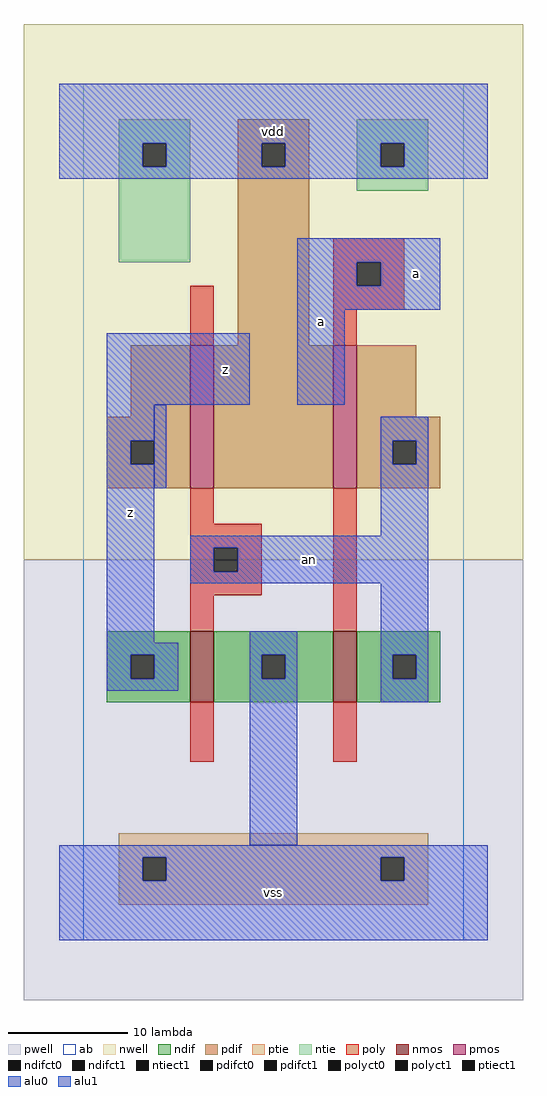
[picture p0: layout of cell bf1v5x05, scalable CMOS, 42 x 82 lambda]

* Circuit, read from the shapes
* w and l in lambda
.subckt bf1v5x05 a an vdd vss z
M1 vss an z vss nfet w=6 l=2
M2 an a vss vss nfet w=6 l=2
M3 vdd an z vdd pfet w=12 l=2
M4 an a vdd vdd pfet w=12 l=2
.ends

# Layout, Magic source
magic
tech scmos
<< ab >>
rect 0 0 32 72
<< nwell >>
rect -5 32 37 77
<< pwell >>
rect -5 -5 37 32
<< poly >>
rect 9 50 11 55
rect 21 57 27 59
rect 21 55 23 57
rect 25 55 27 57
rect 21 53 27 55
rect 21 50 23 53
rect 9 35 11 38
rect 9 33 15 35
rect 9 31 11 33
rect 13 31 15 33
rect 9 29 15 31
rect 9 26 11 29
rect 21 26 23 38
rect 9 15 11 20
rect 21 15 23 20
<< ndif >>
rect 2 24 9 26
rect 2 22 4 24
rect 6 22 9 24
rect 2 20 9 22
rect 11 24 21 26
rect 11 22 15 24
rect 17 22 21 24
rect 11 20 21 22
rect 23 24 30 26
rect 23 22 26 24
rect 28 22 30 24
rect 23 20 30 22
<< pdif >>
rect 13 67 19 69
rect 13 65 15 67
rect 17 65 19 67
rect 13 50 19 65
rect 4 44 9 50
rect 2 42 9 44
rect 2 40 4 42
rect 6 40 9 42
rect 2 38 9 40
rect 11 38 21 50
rect 23 44 28 50
rect 23 42 30 44
rect 23 40 26 42
rect 28 40 30 42
rect 23 38 30 40
<< alu1 >>
rect -2 67 34 72
rect -2 65 5 67
rect 7 65 15 67
rect 17 65 25 67
rect 27 65 34 67
rect -2 64 34 65
rect 18 57 30 59
rect 18 55 23 57
rect 25 55 30 57
rect 18 53 30 55
rect 2 45 14 51
rect 18 45 22 53
rect 2 42 6 45
rect 2 40 4 42
rect 2 25 6 40
rect 2 24 8 25
rect 2 22 4 24
rect 6 22 8 24
rect 2 21 8 22
rect -2 7 34 8
rect -2 5 5 7
rect 7 5 25 7
rect 27 5 34 7
rect -2 0 34 5
<< ptie >>
rect 3 7 29 9
rect 3 5 5 7
rect 7 5 25 7
rect 27 5 29 7
rect 3 3 29 5
<< ntie >>
rect 3 67 9 69
rect 3 65 5 67
rect 7 65 9 67
rect 3 57 9 65
rect 23 67 29 69
rect 23 65 25 67
rect 27 65 29 67
rect 23 63 29 65
<< nmos >>
rect 9 20 11 26
rect 21 20 23 26
<< pmos >>
rect 9 38 11 50
rect 21 38 23 50
<< polyct0 >>
rect 11 31 13 33
<< polyct1 >>
rect 23 55 25 57
<< ndifct0 >>
rect 15 22 17 24
rect 26 22 28 24
<< ndifct1 >>
rect 4 22 6 24
<< ntiect1 >>
rect 5 65 7 67
rect 25 65 27 67
<< ptiect1 >>
rect 5 5 7 7
rect 25 5 27 7
<< pdifct0 >>
rect 26 40 28 42
<< pdifct1 >>
rect 15 65 17 67
rect 4 40 6 42
<< alu0 >>
rect 6 38 7 45
rect 25 42 29 44
rect 25 40 26 42
rect 28 40 29 42
rect 25 34 29 40
rect 9 33 29 34
rect 9 31 11 33
rect 13 31 29 33
rect 9 30 29 31
rect 14 24 18 26
rect 14 22 15 24
rect 17 22 18 24
rect 14 8 18 22
rect 25 24 29 30
rect 25 22 26 24
rect 28 22 29 24
rect 25 20 29 22
<< labels >>
rlabel alu0 19 32 19 32 6 an
rlabel alu1 4 36 4 36 6 z
rlabel alu1 16 4 16 4 6 vss
rlabel alu1 12 48 12 48 6 z
rlabel alu1 16 68 16 68 6 vdd
rlabel alu1 20 52 20 52 6 a
rlabel alu1 28 56 28 56 6 a
<< end >>
